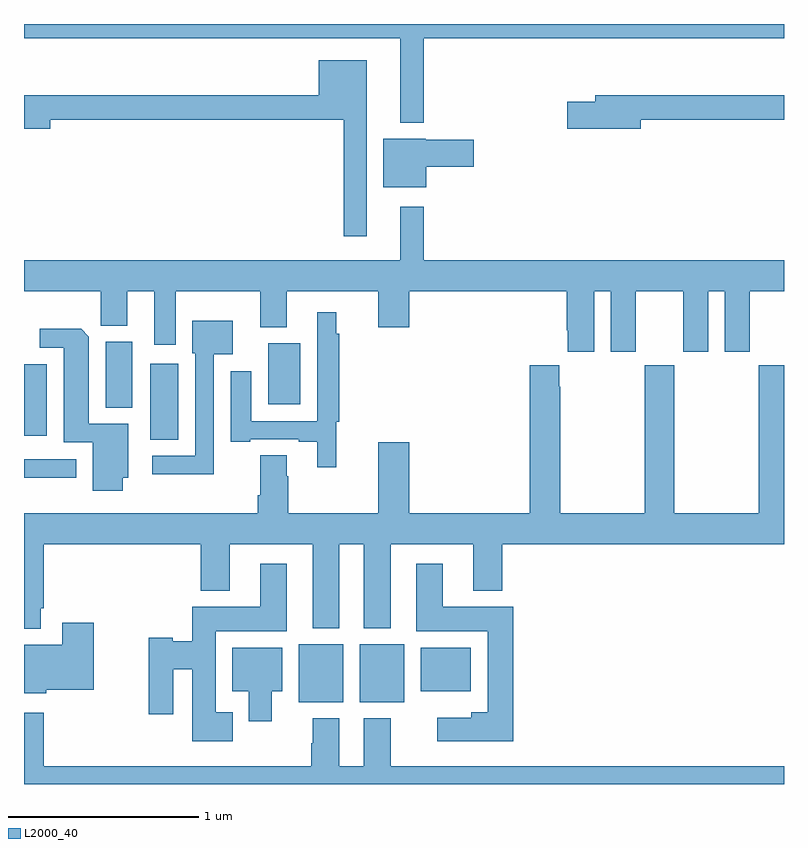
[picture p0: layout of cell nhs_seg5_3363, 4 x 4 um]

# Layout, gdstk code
import gdstk
lib = gdstk.Library(unit=1e-6, precision=1e-09)
def R(c, l, rs):  # rectangles x0, y0, x1, y1
    for r in rs: c.add(gdstk.rectangle(r[:2], r[2:], *l))
def P(c, l, *ps):  # polygons
    for p in ps: c.add(gdstk.Polygon(p, *l))
L2000_40 = (2000, 40)

nhs_seg5_3363 = lib.new_cell('nhs_seg5_3363')
R(nhs_seg5_3363, L2000_40, [(308.447,889.229,308.68,889.534), (308.768,889.229,309.001,889.534), (309.089,889.286,309.352,889.516), (307,890.412,307.276,890.508), (307.664,890.611,307.813,891.01), (307,890.631,307.12,891.007), (307.43,890.78,307.57,891.126), (308.285,890.798,308.455,891.118)])
P(nhs_seg5_3363, L2000_40, [(309.103,892.724),(311,892.724),(311,892.799),(307,892.799),(307,892.724),(308.981,892.724),(308.981,892.28),(309.103,892.28)],
  [(308.803,892.609),(308.552,892.609),(308.552,892.423),(307,892.423),(307,892.247),(307.138,892.247),(307.138,892.294),(308.682,892.294),(308.682,891.681),(308.803,891.681)],
  [(310.246,892.294),(311,892.294),(311,892.423),(310.007,892.423),(310.007,892.389),(309.858,892.389),(309.858,892.247),(310.246,892.247)],
  [(309.118,892.048),(309.367,892.048),(309.367,892.19),(309.114,892.19),(309.114,892.195),(308.891,892.195),(308.891,891.941),(309.118,891.941)],
  [(310,891.392),(310.088,891.392),(310.088,891.075),(310.219,891.075),(310.219,891.392),(310.469,891.392),(310.469,891.075),(310.6,891.075),(310.6,891.392),(310.688,891.392),(310.688,891.075),(310.819,891.075),(310.819,891.392),(311,891.392),(311,891.556),(309.103,891.556),(309.103,891.838),(308.981,891.838),(308.981,891.556),(307,891.556),(307,891.392),(307.405,891.392),(307.405,891.211),(307.543,891.211),(307.543,891.392),(307.685,891.392),(307.685,891.111),(307.798,891.111),(307.798,891.392),(308.243,891.392),(308.243,891.203),(308.383,891.203),(308.383,891.392),(308.864,891.392),(308.864,891.204),(309.028,891.204),(309.028,891.392),(309.857,891.392),(309.857,891.187),(309.863,891.187),(309.863,891.075),(310,891.075)],
  [(308.643,890.706),(308.66,890.706),(308.66,891.17),(308.643,891.17),(308.643,891.283),(308.544,891.283),(308.544,890.709),(308.197,890.709),(308.197,890.971),(308.087,890.971),(308.087,890.601),(308.191,890.601),(308.191,890.613),(308.447,890.613),(308.447,890.601),(308.543,890.601),(308.543,890.466),(308.643,890.466)],
  [(307.998,891.062),(308.098,891.062),(308.098,891.238),(307.886,891.238),(307.886,891.066),(307.902,891.066),(307.902,890.526),(307.674,890.526),(307.674,890.429),(307.998,890.429)],
  [(307.519,890.411),(307.549,890.411),(307.549,890.694),(307.342,890.694),(307.342,891.152),(307.301,891.194),(307.083,891.194),(307.083,891.096),(307.208,891.096),(307.208,890.598),(307.361,890.598),(307.361,890.343),(307.519,890.343)],
  [(307.087,889.723),(307.105,889.723),(307.105,890.06),(307.931,890.06),(307.931,889.817),(308.083,889.817),(308.083,890.06),(308.519,890.06),(308.519,889.619),(308.659,889.619),(308.659,890.06),(308.789,890.06),(308.789,889.619),(308.929,889.619),(308.929,890.06),(309.365,890.06),(309.365,889.817),(309.518,889.817),(309.518,890.06),(311,890.06),(311,891.004),(310.867,891.004),(310.867,890.224),(310.422,890.224),(310.422,891.004),(310.267,891.004),(310.267,890.224),(309.822,890.224),(309.822,890.891),(309.817,890.891),(309.817,891.004),(309.662,891.004),(309.662,890.224),(309.028,890.224),(309.028,890.599),(308.864,890.599),(308.864,890.224),(308.391,890.224),(308.391,890.42),(308.383,890.42),(308.383,890.528),(308.243,890.528),(308.243,890.32),(308.231,890.32),(308.231,890.224),(307,890.224),(307,889.616),(307.087,889.616)],
  [(309.575,889.732),(309.205,889.732),(309.205,889.957),(309.065,889.957),(309.065,889.604),(309.44,889.604),(309.44,889.177),(309.353,889.177),(309.353,889.147),(309.174,889.147),(309.174,889.025),(309.575,889.025)],
  [(308.098,889.177),(308.008,889.177),(308.008,889.604),(308.383,889.604),(308.383,889.957),(308.243,889.957),(308.243,889.732),(307.886,889.732),(307.886,889.55),(307.782,889.55),(307.782,889.568),(307.657,889.568),(307.657,889.167),(307.786,889.167),(307.786,889.403),(307.886,889.403),(307.886,889.025),(308.098,889.025)],
  [(307.116,889.295),(307.368,889.295),(307.368,889.648),(307.202,889.648),(307.202,889.531),(307,889.531),(307,889.277),(307.116,889.277)],
  [(308.305,889.286),(308.359,889.286),(308.359,889.516),(308.096,889.516),(308.096,889.286),(308.183,889.286),(308.183,889.128),(308.305,889.128)],
  [(311,888.892),(308.929,888.892),(308.929,889.144),(308.789,889.144),(308.789,888.892),(308.659,888.892),(308.659,889.144),(308.519,889.144),(308.519,889.013),(308.512,889.013),(308.512,888.892),(307.105,888.892),(307.105,889.174),(307,889.174),(307,888.799),(311,888.799)])

lib.write_gds('nhs_seg5_3363.gds')
